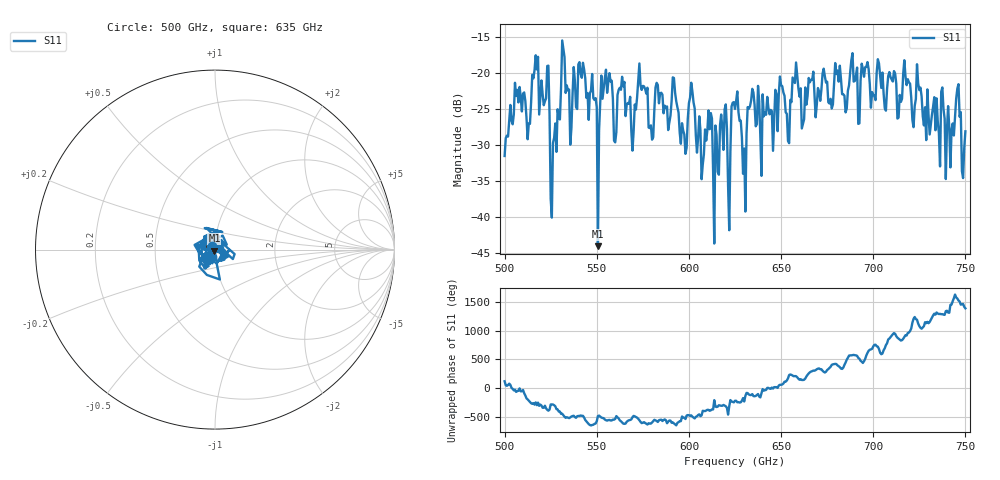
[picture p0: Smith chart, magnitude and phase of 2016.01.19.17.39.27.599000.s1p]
!Created with skrf (http://scikit-rf.org).
# GHz S RI R 50.0
!freq ReS11 ImS11
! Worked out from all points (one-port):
!   401 points, 500 GHz to 750 GHz, reference 50 ohm
!   lowest |S11| = -44.1 dB at 550.6 GHz (marker M1), VSWR 1.01, Z = 49.7 - j0.531 ohm
!   |S11| at or under -10 dB: start of sweep to end of sweep
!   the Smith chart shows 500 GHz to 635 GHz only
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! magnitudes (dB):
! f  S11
! 500 GHz  -31.5
! 506.9 GHz  -22.3
! 513.1 GHz  -27.0
! 516.9 GHz  -17.5
! 523.1 GHz  -19.0
! 526.2 GHz  -29.7
! 531.2 GHz  -15.5
! 535.6 GHz  -30.0
! 541.9 GHz  -20.7
! 550.6 GHz  -44.1
! 553.8 GHz  -22.2
! 560 GHz  -29.6
! 562.5 GHz  -22.0
! 593.8 GHz  -24.8
! 608.1 GHz  -31.3
! 611.2 GHz  -27.8
! 615 GHz  -28.6
! 618.8 GHz  -30.7
! 621.9 GHz  -41.9
! 625 GHz  -25.0
! 630 GHz  -30.5
! 633.8 GHz  -23.8
! 656.2 GHz  -20.6
! 687.5 GHz  -19.9
! 718.8 GHz  -20.8
! 740.6 GHz  -24.6
! 746.2 GHz  -21.5
! 750 GHz  -28.1
